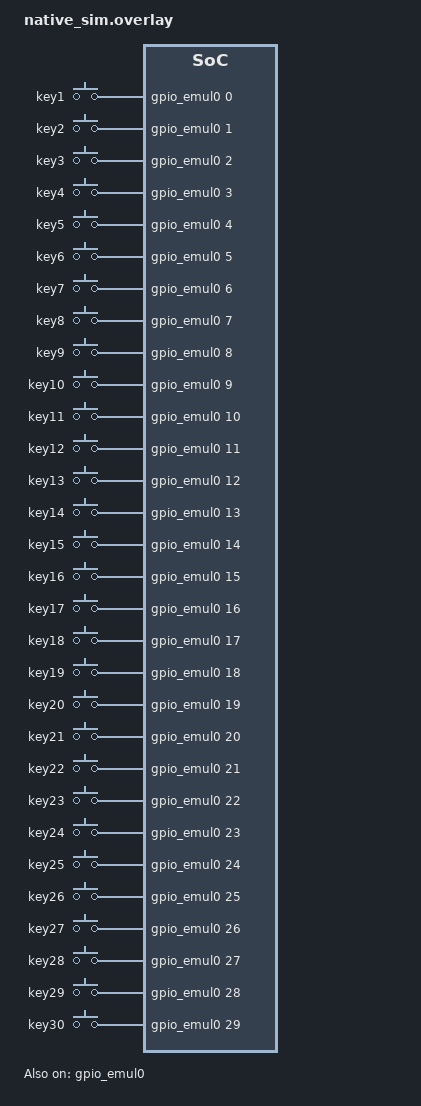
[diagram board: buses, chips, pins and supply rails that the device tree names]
#include <zephyr/dt-bindings/input/input-event-codes.h>
#include <zephyr/dt-bindings/lvgl/lvgl.h>

/ {
	aliases {
		button14x4 = &key1;
		button24x4  = &key2;
		button34x4  = &key3;
		button44x4  = &key4;
		button54x4  = &key5;
		button64x4  = &key6;
		button74x4  = &key7;
		button84x4  = &key8;
		button94x4  = &key9;
		button104x4  = &key10;
		button114x4 = &key11;
		button124x4 = &key12;
		button134x4 = &key13;
		button144x4 = &key14;
		button154x4 = &key15;
		button164x4 = &key16;
		abcbuttona = &key17;
		abcbuttonb = &key18;
		abcbuttonc = &key19;
		switches1on = &key20;
		switches2on = &key21;
		switches3on = &key22;
		switches4on = &key23;
		switches5on = &key24;
		switches1off = &key25;
		switches2off = &key26;
		switches3off = &key27;
		switches4off = &key28;
		switches5off = &key29;
		startbutton = &key30;
	};

	//emulated gpio description
    gpio_emul0: gpio_emul_0@0 {
		reg = <0 1>;
		status = "okay";
		compatible = "zephyr,gpio-emul";
		rising-edge;
		falling-edge;
		high-level;
		low-level;
		gpio-controller;
		ngpios = <30>; // Number of GPIO pins
		#gpio-cells = <2>;
	
	};
	
	keys: keys {
		compatible = "gpio-keys";
		//16 keys 4x4 matrix
		key1: key1 {
			gpios = <&gpio_emul0 0 GPIO_ACTIVE_HIGH>;
			zephyr,code = <INPUT_KEY_1>;
		};
		key2: key2 {
			gpios = <&gpio_emul0 1 GPIO_ACTIVE_HIGH>;
			zephyr,code = <INPUT_KEY_2>;
		};
		key3: key3 {
			gpios = <&gpio_emul0 2 GPIO_ACTIVE_HIGH>;
			zephyr,code = <INPUT_KEY_3>;
		};
		key4: key4 {
			gpios = <&gpio_emul0 3 GPIO_ACTIVE_HIGH>;
			zephyr,code = <INPUT_KEY_4>;
		};
		key5: key5 {
			gpios = <&gpio_emul0 4 GPIO_ACTIVE_HIGH>;
			zephyr,code = <INPUT_KEY_Q>;
		};
		key6: key6 {
			gpios = <&gpio_emul0 5 GPIO_ACTIVE_HIGH>;
			zephyr,code = <INPUT_KEY_W>;
		};
		key7: key7 {
			gpios = <&gpio_emul0 6 GPIO_ACTIVE_HIGH>;
			zephyr,code = <INPUT_KEY_E>;
		};
		key8: key8 {
			gpios = <&gpio_emul0 7 GPIO_ACTIVE_HIGH>;
			zephyr,code = <INPUT_KEY_R>;
		};
		key9: key9 {
			gpios = <&gpio_emul0 8 GPIO_ACTIVE_HIGH>;
			zephyr,code = <INPUT_KEY_A>;
		};
		key10: key10 {
			gpios = <&gpio_emul0 9 GPIO_ACTIVE_HIGH>;
			zephyr,code = <INPUT_KEY_S>;
		};
		key11: key11 {
			gpios = <&gpio_emul0 10 GPIO_ACTIVE_HIGH>;
			zephyr,code = <INPUT_KEY_D>;
		};
		key12: key12 {
			gpios = <&gpio_emul0 11 GPIO_ACTIVE_HIGH>;
			zephyr,code = <INPUT_KEY_F>;
		};
		key13: key13 {
			gpios = <&gpio_emul0 12 GPIO_ACTIVE_HIGH>;
			zephyr,code = <INPUT_KEY_Z>;
		};
		key14: key14 {
			gpios = <&gpio_emul0 13 GPIO_ACTIVE_HIGH>;
			zephyr,code = <INPUT_KEY_X>;
		};
		key15: key15 {
			gpios = <&gpio_emul0 14 GPIO_ACTIVE_HIGH>;
			zephyr,code = <INPUT_KEY_C>;
		};
		key16: key16 {
			gpios = <&gpio_emul0 15 GPIO_ACTIVE_HIGH>;
			zephyr,code = <INPUT_KEY_V>;
		};
		//3 ABC buttons
		key17: key17 {
			gpios = <&gpio_emul0 16 GPIO_ACTIVE_HIGH>;
			zephyr,code = <INPUT_KEY_5>;
		};
		key18: key18 {
			gpios = <&gpio_emul0 17 GPIO_ACTIVE_HIGH>;
			zephyr,code = <INPUT_KEY_6>;
		};
		key19: key19 {
			gpios = <&gpio_emul0 18 GPIO_ACTIVE_HIGH>;
			zephyr,code = <INPUT_KEY_7>;
		};
		// 10 for switches
		key20: key20 {
			gpios = <&gpio_emul0 19 GPIO_ACTIVE_HIGH>;
			zephyr,code = <INPUT_KEY_T>;
		};
		key21: key21 {
			gpios = <&gpio_emul0 20 GPIO_ACTIVE_HIGH>;
			zephyr,code = <INPUT_KEY_Y>;
		};
		key22: key22 {
			gpios = <&gpio_emul0 21 GPIO_ACTIVE_HIGH>;
			zephyr,code = <INPUT_KEY_U>;
		};
		key23: key23 {
			gpios = <&gpio_emul0 22 GPIO_ACTIVE_HIGH>;
			zephyr,code = <INPUT_KEY_I>;
		};
		key24: key24 {
			gpios = <&gpio_emul0 23 GPIO_ACTIVE_HIGH>;
			zephyr,code = <INPUT_KEY_O>;
		};
		key25: key25 {
        	gpios = <&gpio_emul0 24 GPIO_ACTIVE_HIGH>;
        	zephyr,code = <INPUT_KEY_G>;
		};
		key26: key26 {
			gpios = <&gpio_emul0 25 GPIO_ACTIVE_HIGH>;
			zephyr,code = <INPUT_KEY_H>;
		};
		key27: key27 {
			gpios = <&gpio_emul0 26 GPIO_ACTIVE_HIGH>;
			zephyr,code = <INPUT_KEY_J>;
		};
		key28: key28 {
			gpios = <&gpio_emul0 27 GPIO_ACTIVE_HIGH>;
			zephyr,code = <INPUT_KEY_K>;
		};
		key29: key29 {
			gpios = <&gpio_emul0 28 GPIO_ACTIVE_HIGH>;
			zephyr,code = <INPUT_KEY_L>;
		};
		key30: key30 {
			gpios = <&gpio_emul0 29 GPIO_ACTIVE_HIGH>;
			zephyr,code = <INPUT_KEY_0>;
		};
	};

	lvgl_button_input {
		compatible = "zephyr,lvgl-button-input";
		input = <&keys>;
		input-codes = <INPUT_KEY_1>;
		coordinates = <221 69>;
	};
};

&gpio_emul0 {
	ngpios = <30>;

	sdl_gpio {
		status = "okay";
		compatible = "zephyr,gpio-emul-sdl";
		scancodes = <30 31 32 33
					20 26 8 21
					4 22 7 9
					29 27 6 25
					34 35 36 
					23 28 24 12 18
					10 11 13 14 15
					39>;
	};
};

// Display
&sdl_dc {
    width = <520>;
    height = <520>;
};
